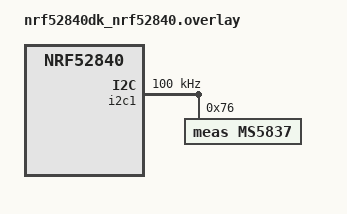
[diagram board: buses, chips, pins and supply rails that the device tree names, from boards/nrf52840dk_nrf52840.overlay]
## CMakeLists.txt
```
# SPDX-License-Identifier: Apache-2.0

cmake_minimum_required(VERSION 3.13.1)
find_package(Zephyr REQUIRED HINTS $ENV{ZEPHYR_BASE})
project(ms5837)

FILE(GLOB app_sources src/*.c)
target_sources(app PRIVATE ${app_sources})
```

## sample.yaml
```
sample:
  description: TBD
  name: TBD
tests:
  sample.sensor.ms5837:
    build_only: true
    platform_allow: nrf52840dk_nrf52840
    integration_platforms:
      - nrf52840dk_nrf52840
    tags: sensors
```

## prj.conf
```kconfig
CONFIG_STDOUT_CONSOLE=y
CONFIG_LOG=y
CONFIG_LOG_BACKEND_SHOW_COLOR=y
CONFIG_LOG_DEFAULT_LEVEL=1
CONFIG_LOG_OVERRIDE_LEVEL=1
CONFIG_I2C=y
CONFIG_SENSOR=y
CONFIG_MS5837=y
```

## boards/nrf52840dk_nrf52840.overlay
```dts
/*
 * Copyright (c) 2018 Jan Van Winkel <jan.van_winkel@dxplore.eu>
 *
 * SPDX-License-Identifier: Apache-2.0
 */

&i2c1 {
    status = "okay";
    clock-frequency = <I2C_BITRATE_STANDARD>;
    ms5837@76 {
        compatible = "meas,ms5837";
        reg = <0x76>;
        label = "MS5837";
    };
};
```

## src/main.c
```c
/*
 * Copyright (c) 2018 Jan Van Winkel <jan.van_winkel@dxplore.eu>
 *
 * SPDX-License-Identifier: Apache-2.0
 */

#include <device.h>
#include <drivers/sensor.h>
#include <stdio.h>
#include <zephyr.h>

#include <logging/log.h>
LOG_MODULE_REGISTER(main);

void main(void)
{
	struct sensor_value oversampling_rate = { 8192, 0 };
	const struct device *dev = DEVICE_DT_GET_ANY(meas_ms5837);

	if (dev == NULL) {
		LOG_ERR("Could not find MS5837 device, aborting test.");
		return;
	}
	if (!device_is_ready(dev)) {
		LOG_ERR("MS5837 device %s is not ready, aborting test.",
			dev->name);
		return;
	}

	if (sensor_attr_set(dev, SENSOR_CHAN_ALL, SENSOR_ATTR_OVERSAMPLING,
				&oversampling_rate) != 0) {
		LOG_ERR("Could not set oversampling rate of %d "
			"on MS5837 device, aborting test.",
			oversampling_rate.val1);
		return;
	}

	while (1) {
		struct sensor_value temp;
		struct sensor_value press;

		sensor_sample_fetch(dev);
		sensor_channel_get(dev, SENSOR_CHAN_AMBIENT_TEMP, &temp);
		sensor_channel_get(dev, SENSOR_CHAN_PRESS, &press);

		printf("Temperature: %d.%06d, Pressure: %d.%06d\n", temp.val1,
		       temp.val2, press.val1, press.val2);

		k_sleep(K_MSEC(10000));
	}
}
```
